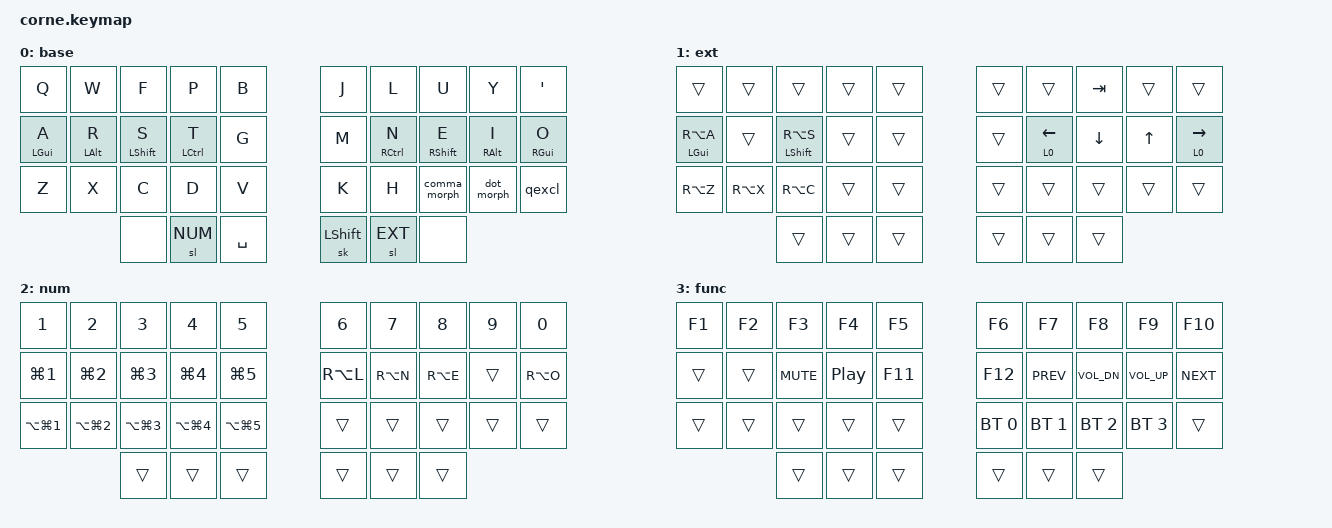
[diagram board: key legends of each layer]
/ {
    chosen {
        zmk,physical-layout = &foostan_corne_5col_layout;
    };
};

#include <behaviors.dtsi>
#include <dt-bindings/zmk/bt.h>
#include <dt-bindings/zmk/ext_power.h>
#include <dt-bindings/zmk/keys.h>
#include <dt-bindings/zmk/outputs.h>
#include "zmk-helpers/helper.h"
#include "zmk-helpers/key-labels/36.h"


#define DEF 0
#define EXT 1
#define NUM 2
#define FUNC 3

#include "combos.dtsi"

#define XXX &none
#define ___ &trans

/* Global settings */

#define QUICK_TAP_MS 175

&sk {  // sticky-key config
    release-after-ms = <900>;  // release after 0.6s
    quick-release;             // no double capitalization when rolling keys
};

&sl {  // sticky-layer config
    ignore-modifiers;          // allow chording sticky mods & layers
};

&lt {  // layer-tap config
    flavor = "balanced";
    tapping-term-ms = <200>;
    quick-tap-ms = <QUICK_TAP_MS>;
};

#define KEYS_L LT0 LT1 LT2 LT3 LT4 LM0 LM1 LM2 LM3 LM4 LB0 LB1 LB2 LB3 LB4  // left hand
#define KEYS_R RT0 RT1 RT2 RT3 RT4 RM0 RM1 RM2 RM3 RM4 RB0 RB1 RB2 RB3 RB4  // right hand
#define THUMBS LH2 LH1 LH0 RH0 RH1 RH2                                      // thumbs

#define MAKE_HRM(NAME, HOLD, TAP, TRIGGER_POS) \
    ZMK_HOLD_TAP(NAME, \
        flavor = "balanced"; \
        tapping-term-ms = <280>; \
        quick-tap-ms = <QUICK_TAP_MS>; \
        require-prior-idle-ms = <150>; \
        bindings = <HOLD>, <TAP>; \
        hold-trigger-key-positions = <TRIGGER_POS>; \
        hold-trigger-on-release; \
    )

MAKE_HRM(hml, &kp, &kp, KEYS_R THUMBS)  // left-hand HRMs
MAKE_HRM(hmr, &kp, &kp, KEYS_L THUMBS)  // right-hand HRMs

#define MAKE_GAMING_HOLDTAP(NAME, HOLD, TAP) \
    ZMK_HOLD_TAP(NAME, \
        flavor = "hold-preferred"; \
        tapping-term-ms = <280>; \
        quick-tap-ms = <QUICK_TAP_MS>; \
        require-prior-idle-ms = <150>; \
        bindings = <HOLD>, <TAP>; \
    )

MAKE_GAMING_HOLDTAP(ght, &kp, &kp)  // gaming hold-tap 

// mask CTRL when holding left/right to avoid accidental jumps to beginning/end of document
#define MASK_MODS(NAME, MODS, BINDING) \
    ZMK_MOD_MORPH(NAME, \
        bindings = <BINDING>, <BINDING>; \
        mods = <MODS>; \
    )
MASK_MODS(masked_home, (MOD_LCTL), &kp HOME)
MASK_MODS(masked_end,  (MOD_LCTL), &kp END)

// long-tap action on hold, short-tap action on all interrupts
#define MT_CORE \
    flavor = "tap-preferred"; \
    tapping-term-ms = <220>; \
    quick-tap-ms = <220>; \
    hold-trigger-key-positions = <0>;

&mt { MT_CORE };
ZMK_HOLD_TAP(mt_home, bindings = <&masked_home>, <&kp>; MT_CORE)
ZMK_HOLD_TAP(mt_end, bindings = <&masked_end>, <&kp>; MT_CORE)

#define NAV_LEFT  &mt_home 0   LEFT    // tap: left  | long-tap: beginning of line
#define NAV_RIGHT &mt_end 0    RIGHT   // tap: right | long-tap: end       of line
#define NAV_BSPC  &mt LC(BSPC) BSPC    // tap: bspc  | long-tap: delete word backward
#define NAV_DEL   &mt LC(DEL)  DEL     // tap: del   | long-tap: delete word forward
    

// reuse basic mod-morph scheme
#define SIMPLE_MORPH(NAME, MOD, BINDING1, BINDING2) \
    ZMK_MOD_MORPH(NAME, \
        mods = <(MOD_L ## MOD|MOD_R ## MOD)>; \
        bindings = <BINDING1>, <BINDING2>; \
    )

// tap: comma | shift + tap: semicolon | ctrl + shift + tap: <
SIMPLE_MORPH(comma_morph, SFT, &kp COMMA, &comma_inner_morph)
SIMPLE_MORPH(comma_inner_morph, CTL, &kp SEMICOLON, &kp LESS_THAN)

// tap: dot | shift + tap: colon | ctrl + shift + tap: >
SIMPLE_MORPH(dot_morph, SFT, &kp DOT, &dot_inner_morph)
SIMPLE_MORPH(dot_inner_morph, CTL, &kp COLON, &kp GREATER_THAN)

// tap: qmark | shift + tap: excl
SIMPLE_MORPH(qexcl, SFT, &kp QMARK, &kp EXCL)

// tap: left/right parenthesis | shft + tap: less-than/greater-than
SIMPLE_MORPH(lpar_lt, SFT, &kp LPAR, &kp LT)
SIMPLE_MORPH(rpar_gt, SFT, &kp RPAR, &kp GT)

// tap: # | shft + tap: &
SIMPLE_MORPH(hash_amps, SFT, &kp HASH, &kp AMPS)

// tap: = | shft + tap: |
SIMPLE_MORPH(eq_pipe, SFT, &kp EQUAL, &kp PIPE)

// tap: $ | shft + tap: ~
SIMPLE_MORPH(dllr_tilde, SFT, &kp DLLR, &kp TILDE)

// tap: + | shft + tap: `
SIMPLE_MORPH(plus_grave, SFT, &kp PLUS, &kp GRAVE)

// tap: space | hold: activate layer
ZMK_BEHAVIOR(ht_spc, hold_tap,
    flavor = "balanced";
    tapping-term-ms = <200>;
    quick-tap-ms = <QUICK_TAP_MS>;
    bindings = <&mo>, <&kp>;
)

/* Keymap */
ZMK_CONDITIONAL_LAYER(func, NUM EXT, FUNC)  // NUM + EXT --> FUNC


ZMK_LAYER(base,
//╭─────────────┬─────────────┬─────────────┬─────────────┬─────────────╮ ╭─────────────┬─────────────┬─────────────┬─────────────┬─────────────╮
    &kp Q         &kp W        &kp F          &kp P         &kp B           &kp J         &kp L         &kp U         &kp Y         &kp SQT
//├─────────────┼─────────────┼─────────────┼─────────────┼─────────────┤ ├─────────────┼─────────────┼─────────────┼─────────────┼─────────────┤
    &hml LGUI A   &hml LALT R  &hml LSHFT S   &hml LCTRL T  &kp G           &kp M         &hmr RCTRL N  &hmr RSHFT E  &hmr RALT I   &hmr RGUI O
//├─────────────┼─────────────┼─────────────┼─────────────┼─────────────┤ ├─────────────┼─────────────┼─────────────┼─────────────┼─────────────┤
    &kp Z         &kp X        &kp C          &kp D         &kp V           &kp K         &kp H         &comma_morph  &dot_morph    &qexcl
//╰─────────────┴─────────────┴─────────────┼─────────────┼─────────────┤ ├─────────────┼─────────────┼─────────────┴───────────────────────────╯
                                    XXX       &sl NUM       &kp SPACE       &sk LSHFT     &sl EXT       XXX
//                            ╰─────────────┴─────────────┴─────────────╯ ╰─────────────┴─────────────┴─────────────╯
)


ZMK_LAYER(ext,
//╭─────────────┬─────────────┬─────────────┬─────────────┬─────────────╮ ╭─────────────┬─────────────┬─────────────┬─────────────┬─────────────╮
    ___           ___           ___           ___           ___             ___           ___           &kp TAB       ___           ___
//├─────────────┼─────────────┼─────────────┼─────────────┼─────────────┤ ├─────────────┼─────────────┼─────────────┼─────────────┼─────────────┤
    &hml LGUI RA(A) ___         &hml LSHFT RA(S) ___        ___             ___           NAV_LEFT      &kp DOWN      &kp UP        NAV_RIGHT
//├─────────────┼─────────────┼─────────────┼─────────────┼─────────────┤ ├─────────────┼─────────────┼─────────────┼─────────────┼─────────────┤
    &kp RA(Z)     &kp RA(X)     &kp RA(C)     ___           ___             ___           ___           ___           ___           ___
//╰─────────────┴─────────────┴─────────────┼─────────────┼─────────────┤ ├─────────────┼─────────────┼─────────────┼─────────────┴───────────────────────────╯
                                ___           ___           ___             ___           ___           ___           
//                            ╰─────────────┴─────────────┴─────────────╯ ╰─────────────┴─────────────┴─────────────╯
)


ZMK_LAYER(num,
//╭─────────────┬─────────────┬─────────────┬─────────────┬─────────────╮ ╭─────────────┬─────────────┬─────────────┬─────────────┬─────────────╮
    &kp N1        &kp N2        &kp N3        &kp N4        &kp N5          &kp N6        &kp N7        &kp N8        &kp N9        &kp N0
//├─────────────┼─────────────┼─────────────┼─────────────┼─────────────┤ ├─────────────┼─────────────┼─────────────┼─────────────┼─────────────┤
    &kp LG(N1)    &kp LG(N2)    &kp LG(N3)    &kp LG(N4)    &kp LG(N5)      &kp RA(L)     &kp RA(N)     &kp RA(E)     ___           &kp RA(O)
//├─────────────┼─────────────┼─────────────┼─────────────┼─────────────┤ ├─────────────┼─────────────┼─────────────┼─────────────┼─────────────┤
    &kp LA(LG(N1)) &kp LA(LG(N2)) &kp LA(LG(N3)) &kp LA(LG(N4)) &kp LA(LG(N5)) ___        ___           ___           ___           ___
//╰─────────────┴─────────────┴─────────────┼─────────────┼─────────────┤ ├─────────────┼─────────────┼─────────────┼─────────────┴───────────────────────────╯
                                ___           ___           ___             ___           ___           ___           
//                            ╰─────────────┴─────────────┴─────────────╯ ╰─────────────┴─────────────┴─────────────╯
)

ZMK_LAYER(func,
//╭─────────────┬─────────────┬─────────────┬─────────────┬─────────────╮ ╭─────────────┬─────────────┬─────────────┬─────────────┬─────────────╮
    &kp F1        &kp F2        &kp F3        &kp F4        &kp F5         &kp F6        &kp F7        &kp F8        &kp F9        &kp F10
//├─────────────┼─────────────┼─────────────┼─────────────┼─────────────┤ ├─────────────┼─────────────┼─────────────┼─────────────┼─────────────┤
    ___           ___           &kp C_MUTE    &kp C_PLAY_PAUSE &kp F11     &kp F12       &kp C_PREV    &kp C_VOL_DN  &kp C_VOL_UP   &kp C_NEXT
//├─────────────┼─────────────┼─────────────┼─────────────┼─────────────┤ ├─────────────┼─────────────┼─────────────┼─────────────┼─────────────┤
    ___           ___           ___           ___           ___            &bt BT_SEL 0  &bt BT_SEL 1  &bt BT_SEL 2  &bt BT_SEL 3  ___
//╰─────────────┴─────────────┴─────────────┼─────────────┼─────────────┤ ├─────────────┼─────────────┼─────────────┼─────────────┴───────────────────────────╯
                                ___           ___           ___             ___           ___           ___           
//                            ╰─────────────┴─────────────┴─────────────╯ ╰─────────────┴─────────────┴─────────────╯
)

